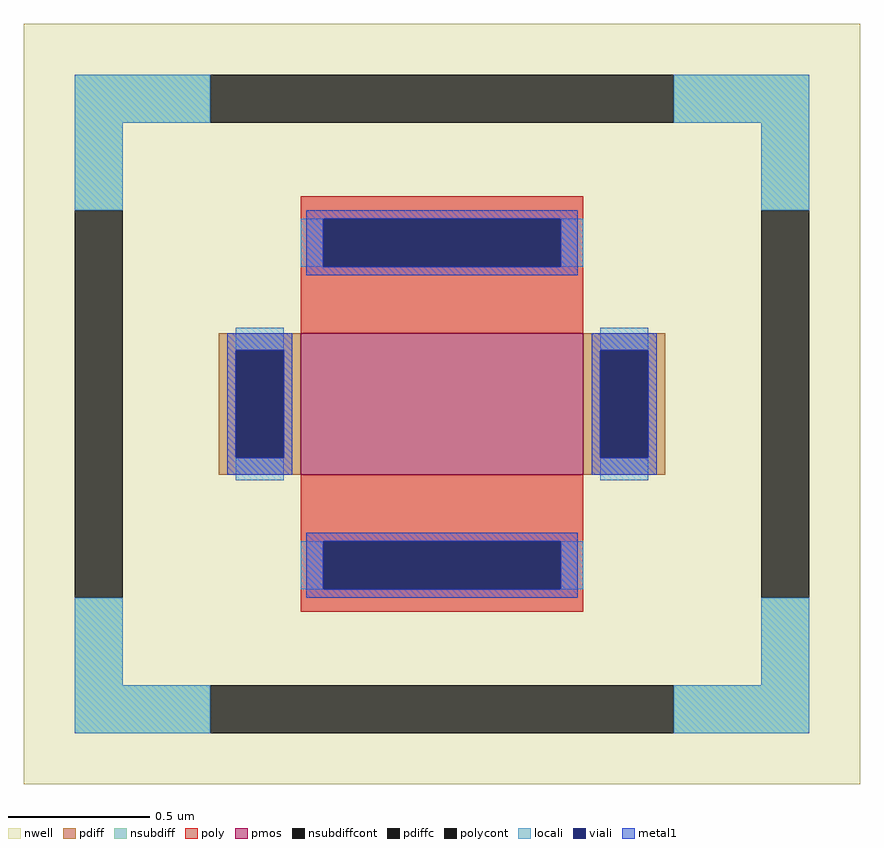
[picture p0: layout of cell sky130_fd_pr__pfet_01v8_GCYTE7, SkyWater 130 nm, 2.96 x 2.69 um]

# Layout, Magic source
magic
tech sky130A
magscale 1 2
<< nwell >>
rect -296 -269 296 269
<< pmos >>
rect -100 -50 100 50
<< pdiff >>
rect -158 38 -100 50
rect -158 -38 -146 38
rect -112 -38 -100 38
rect -158 -50 -100 -38
rect 100 38 158 50
rect 100 -38 112 38
rect 146 -38 158 38
rect 100 -50 158 -38
<< pdiffc >>
rect -146 -38 -112 38
rect 112 -38 146 38
<< nsubdiff >>
rect -260 199 -164 233
rect 164 199 260 233
rect -260 137 -226 199
rect 226 137 260 199
rect -260 -199 -226 -137
rect 226 -199 260 -137
rect -260 -233 -164 -199
rect 164 -233 260 -199
<< nsubdiffcont >>
rect -164 199 164 233
rect -260 -137 -226 137
rect 226 -137 260 137
rect -164 -233 164 -199
<< poly >>
rect -100 131 100 147
rect -100 97 -84 131
rect 84 97 100 131
rect -100 50 100 97
rect -100 -97 100 -50
rect -100 -131 -84 -97
rect 84 -131 100 -97
rect -100 -147 100 -131
<< polycont >>
rect -84 97 84 131
rect -84 -131 84 -97
<< locali >>
rect -260 199 -164 233
rect 164 199 260 233
rect -260 137 -226 199
rect 226 137 260 199
rect -100 97 -84 131
rect 84 97 100 131
rect -146 38 -112 54
rect -146 -54 -112 -38
rect 112 38 146 54
rect 112 -54 146 -38
rect -100 -131 -84 -97
rect 84 -131 100 -97
rect -260 -199 -226 -137
rect 226 -199 260 -137
rect -260 -233 -164 -199
rect 164 -233 260 -199
<< viali >>
rect -84 97 84 131
rect -146 -38 -112 38
rect 112 -38 146 38
rect -84 -131 84 -97
<< metal1 >>
rect -96 131 96 137
rect -96 97 -84 131
rect 84 97 96 131
rect -96 91 96 97
rect -152 38 -106 50
rect -152 -38 -146 38
rect -112 -38 -106 38
rect -152 -50 -106 -38
rect 106 38 152 50
rect 106 -38 112 38
rect 146 -38 152 38
rect 106 -50 152 -38
rect -96 -97 96 -91
rect -96 -131 -84 -97
rect 84 -131 96 -97
rect -96 -137 96 -131
<< properties >>
string FIXED_BBOX -243 -216 243 216
string gencell sky130_fd_pr__pfet_01v8
string library sky130
string parameters w 0.5 l 1 m 1 nf 1 diffcov 100 polycov 100 guard 1 glc 1 grc 1 gtc 1 gbc 1 tbcov 100 rlcov 100 topc 1 botc 1 poverlap 0 doverlap 1 lmin 0.15 wmin 0.42 compatible {sky130_fd_pr__pfet_01v8  sky130_fd_pr__pfet_01v8_lvt sky130_fd_pr__pfet_01v8_hvt  sky130_fd_pr__pfet_g5v0d10v5} full_metal 1 viasrc 100 viadrn 100 viagate 100 viagb 0 viagr 0 viagl 0 viagt 0
<< end >>
